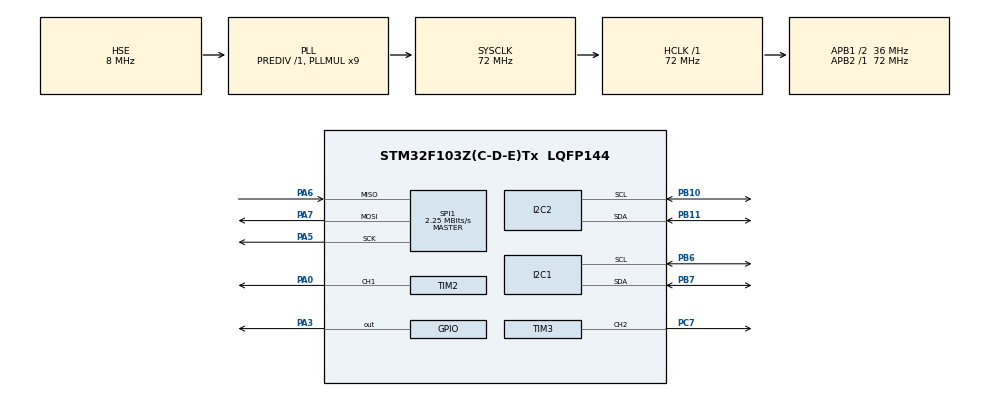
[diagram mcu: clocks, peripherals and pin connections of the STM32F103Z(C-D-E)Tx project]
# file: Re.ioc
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Mcu.Family=STM32F1
Mcu.Name=STM32F103Z(C-D-E)Tx
Mcu.Package=LQFP144
NVIC.PriorityGroup=NVIC_PRIORITYGROUP_4
OSC_IN.Mode=HSE-External-Oscillator
OSC_IN.Signal=RCC_OSC_IN
OSC_OUT.Mode=HSE-External-Oscillator
OSC_OUT.Signal=RCC_OSC_OUT
PA0-WKUP.Signal=S_TIM2_CH1_ETR
PA13.Mode=Serial_Wire
PA13.Signal=SYS_JTMS-SWDIO
PA14.Mode=Serial_Wire
PA14.Signal=SYS_JTCK-SWCLK
PA3.GPIO_ModeDefaultOutputPP=GPIO_MODE_OUTPUT_PP
PA3.Signal=GPIO_Output
PA5.Mode=Full_Duplex_Master
PA5.Signal=SPI1_SCK
PA6.Mode=Full_Duplex_Master
PA6.Signal=SPI1_MISO
PA7.Mode=Full_Duplex_Master
PA7.Signal=SPI1_MOSI
PB10.Mode=I2C
PB10.Signal=I2C2_SCL
PB11.Mode=I2C
PB11.Signal=I2C2_SDA
PB6.Mode=I2C
PB6.Signal=I2C1_SCL
PB7.Mode=I2C
PB7.Signal=I2C1_SDA
PC7.Signal=S_TIM3_CH2
ProjectManager.HeapSize=0x200
ProjectManager.StackSize=0x400
ProjectManager.TargetToolchain=MDK-ARM V5.32
RCC.AHBFreq_Value=72000000
RCC.APB1CLKDivider=RCC_HCLK_DIV2
RCC.APB1Freq_Value=36000000
RCC.APB1TimFreq_Value=72000000
RCC.APB2Freq_Value=72000000
RCC.APB2TimFreq_Value=72000000
RCC.HCLKFreq_Value=72000000
RCC.PLLMUL=RCC_PLL_MUL9
RCC.PLLSourceVirtual=RCC_PLLSOURCE_HSE
RCC.SYSCLKFreq_VALUE=72000000
RCC.SYSCLKSource=RCC_SYSCLKSOURCE_PLLCLK
RCC.USBFreq_Value=72000000
SH.S_TIM2_CH1_ETR.0=TIM2_CH1,PWM Generation1 CH1
SH.S_TIM3_CH2.0=TIM3_CH2,PWM Generation2 CH2
SPI1.BaudRatePrescaler=SPI_BAUDRATEPRESCALER_32
SPI1.CalculateBaudRate=2.25 MBits/s
SPI1.Direction=SPI_DIRECTION_2LINES
SPI1.Mode=SPI_MODE_MASTER
SPI1.VirtualType=VM_MASTER
TIM2.Channel-PWM\ Generation1\ CH1=TIM_CHANNEL_1
TIM2.Period=19999
TIM2.Prescaler=71
TIM2.Pulse-PWM\ Generation1\ CH1=500
TIM3.Channel-PWM\ Generation2\ CH2=TIM_CHANNEL_2
TIM3.Period=19999
TIM3.Prescaler=71
TIM3.Pulse-PWM\ Generation2\ CH2=500
VP_TIM2_VS_ClockSourceINT.Mode=Internal
VP_TIM3_VS_ClockSourceINT.Mode=Internal
board=custom

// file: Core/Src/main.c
/* USER CODE BEGIN Header */
/**
  ******************************************************************************
  * @file           : main.c
  * @brief          : Main program body
  ******************************************************************************
  * @attention
  *
  * Copyright (c) 2026 STMicroelectronics.
  * All rights reserved.
  *
  * This software is licensed under terms that can be found in the LICENSE file
  * in the root directory of this software component.
  * If no LICENSE file comes with this software, it is provided AS-IS.
  *
  ******************************************************************************
  */
/* USER CODE END Header */
#include "main.h"
#include "i2c.h"
#include "spi.h"
#include "tim.h"
#include "gpio.h"

/* USER CODE BEGIN PV */
uint16_t sensor_data[4];
/* USER CODE END PV */

void SystemClock_Config(void);

int main(void)
{

  /* MCU Configuration--------------------------------------------------------*/

  /* Reset of all peripherals, Initializes the Flash interface and the Systick. */
  HAL_Init();

  /* Configure the system clock */
  SystemClock_Config();

  /* Initialize all configured peripherals */
  MX_GPIO_Init();
  MX_I2C1_Init();
  MX_I2C2_Init();
  MX_SPI1_Init();
  MX_TIM2_Init();
  MX_TIM3_Init();
  /* USER CODE BEGIN 2 */
  // ???????
  BH1750_Init();
  HAL_Delay(200);  // ?????????

  SSD1306_Init();
  SSD1306_Clear();

  HAL_TIM_PWM_Start(&htim2, TIM_CHANNEL_1);
  HAL_TIM_PWM_Start(&htim3, TIM_CHANNEL_2);
  /* USER CODE END 2 */

  /* Infinite loop */
  /* USER CODE BEGIN WHILE */
  while (1)
  {
    BH1750_ReadAll(sensor_data);

    // ???OLED
    SSD1306_Clear();
    SSD1306_SetCursor(0, 0);
    SSD1306_WriteString("S1:");
    SSD1306_WriteInt(sensor_data[0]);
    SSD1306_SetCursor(0, 1);
    SSD1306_WriteString("S2:");
    SSD1306_WriteInt(sensor_data[1]);
    SSD1306_SetCursor(0, 2);
    SSD1306_WriteString("S3:");
    SSD1306_WriteInt(sensor_data[2]);
    SSD1306_SetCursor(0, 3);
    SSD1306_WriteString("S4:");
    SSD1306_WriteInt(sensor_data[3]);

    // ???????
    float left_right = (sensor_data[0] + sensor_data[2]) - (sensor_data[1] + sensor_data[3]);
    float up_down    = (sensor_data[0] + sensor_data[1]) - (sensor_data[2] + sensor_data[3]);

    // ?????(??????)
    float pitch_angle = 90.0f + up_down * 0.1f;   // ??
    float yaw_angle   = 90.0f + left_right * 0.1f; // ??

    // ??
    if (pitch_angle < 0.0f) pitch_angle = 0.0f;
    if (pitch_angle > 180.0f) pitch_angle = 180.0f;
    if (yaw_angle < 0.0f) yaw_angle = 0.0f;
    if (yaw_angle > 180.0f) yaw_angle = 180.0f;

    // ????
    Servo_SetAngle(&htim2, TIM_CHANNEL_1, pitch_angle);
    Servo_SetAngle(&htim3, TIM_CHANNEL_2, yaw_angle);

    HAL_Delay(100);
    /* USER CODE END WHILE */

  }
}

void SystemClock_Config(void)
{
  RCC_OscInitTypeDef RCC_OscInitStruct = {0};
  RCC_ClkInitTypeDef RCC_ClkInitStruct = {0};

  /** Initializes the RCC Oscillators according to the specified parameters
  * in the RCC_OscInitTypeDef structure.
  */
  RCC_OscInitStruct.OscillatorType = RCC_OSCILLATORTYPE_HSE;
  RCC_OscInitStruct.HSEState = RCC_HSE_ON;
  RCC_OscInitStruct.HSEPredivValue = RCC_HSE_PREDIV_DIV1;
  RCC_OscInitStruct.HSIState = RCC_HSI_ON;
  RCC_OscInitStruct.PLL.PLLState = RCC_PLL_ON;
  RCC_OscInitStruct.PLL.PLLSource = RCC_PLLSOURCE_HSE;
  RCC_OscInitStruct.PLL.PLLMUL = RCC_PLL_MUL9;
  if (HAL_RCC_OscConfig(&RCC_OscInitStruct) != HAL_OK)
  {
    Error_Handler();
  }

  /** Initializes the CPU, AHB and APB buses clocks
  */
  RCC_ClkInitStruct.ClockType = RCC_CLOCKTYPE_HCLK|RCC_CLOCKTYPE_SYSCLK
                              |RCC_CLOCKTYPE_PCLK1|RCC_CLOCKTYPE_PCLK2;
  RCC_ClkInitStruct.SYSCLKSource = RCC_SYSCLKSOURCE_PLLCLK;
  RCC_ClkInitStruct.AHBCLKDivider = RCC_SYSCLK_DIV1;
  RCC_ClkInitStruct.APB1CLKDivider = RCC_HCLK_DIV2;
  RCC_ClkInitStruct.APB2CLKDivider = RCC_HCLK_DIV1;

  if (HAL_RCC_ClockConfig(&RCC_ClkInitStruct, FLASH_LATENCY_2) != HAL_OK)
  {
    Error_Handler();
  }
}

void Error_Handler(void)
{
  __disable_irq();
  while (1)
  {
  }
}
